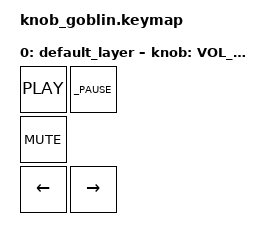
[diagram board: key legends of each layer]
/*
 * Copyright (c) 2022 The ZMK Contributors
 *
 * SPDX-License-Identifier: MIT
 */

#include <behaviors.dtsi>
#include <dt-bindings/zmk/keys.h>
#include <dt-bindings/zmk/bt.h>

/ {
    keymap {
        compatible = "zmk,keymap";

        default_layer {

            bindings = <
    &kp C_PLAY &kp C__PAUSE
    &kp C_MUTE
    &kp LEFT_ARROW &kp RIGHT_ARROW
>;

            sensor-bindings = <&inc_dec_kp C_VOL_UP C_VOL_DN>;
        };

    };
};

